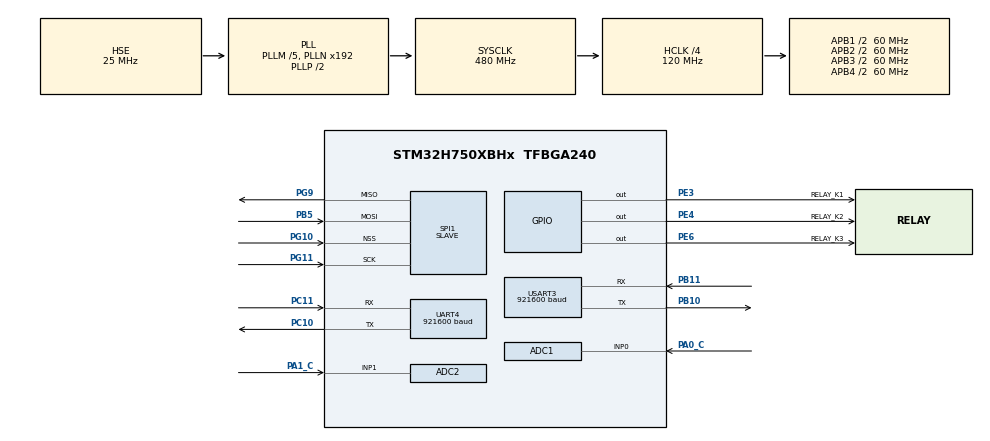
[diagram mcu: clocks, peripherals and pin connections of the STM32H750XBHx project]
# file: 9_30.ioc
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ADC1.Channel-10\#ChannelRegularConversion=ADC_CHANNEL_0
ADC1.ClockPrescaler=ADC_CLOCK_ASYNC_DIV2
ADC1.ConversionDataManagement=ADC_CONVERSIONDATA_DMA_CIRCULAR
ADC1.ExternalTrigConv=ADC_EXTERNALTRIG_T6_TRGO
ADC1.NbrOfConversionFlag=1
ADC1.OffsetNumber-10\#ChannelRegularConversion=ADC_OFFSET_NONE
ADC1.OffsetSignedSaturation-10\#ChannelRegularConversion=DISABLE
ADC1.Rank-10\#ChannelRegularConversion=1
ADC1.SamplingTime-10\#ChannelRegularConversion=ADC_SAMPLETIME_1CYCLE_5
ADC1.master=1
ADC2.Channel-6\#ChannelRegularConversion=ADC_CHANNEL_1
ADC2.ClockPrescaler=ADC_CLOCK_ASYNC_DIV2
ADC2.ConversionDataManagement=ADC_CONVERSIONDATA_DMA_CIRCULAR
ADC2.ExternalTrigConv=ADC_EXTERNALTRIG_T6_TRGO
ADC2.NbrOfConversionFlag=1
ADC2.OffsetNumber-6\#ChannelRegularConversion=ADC_OFFSET_NONE
ADC2.OffsetSignedSaturation-6\#ChannelRegularConversion=DISABLE
ADC2.Rank-6\#ChannelRegularConversion=1
ADC2.SamplingTime-6\#ChannelRegularConversion=ADC_SAMPLETIME_1CYCLE_5
CORTEX_M7.default_mode_Activation=1
Dma.ADC1.0.Direction=DMA_PERIPH_TO_MEMORY
Dma.ADC1.0.EventEnable=DISABLE
Dma.ADC1.0.FIFOMode=DMA_FIFOMODE_DISABLE
Dma.ADC1.0.Instance=DMA1_Stream2
Dma.ADC1.0.MemDataAlignment=DMA_MDATAALIGN_WORD
Dma.ADC1.0.MemInc=DMA_MINC_ENABLE
Dma.ADC1.0.Mode=DMA_CIRCULAR
Dma.ADC1.0.PeriphDataAlignment=DMA_PDATAALIGN_WORD
Dma.ADC1.0.PeriphInc=DMA_PINC_DISABLE
Dma.ADC1.0.Polarity=HAL_DMAMUX_REQ_GEN_RISING
Dma.ADC1.0.Priority=DMA_PRIORITY_LOW
Dma.ADC1.0.RequestNumber=1
Dma.ADC1.0.SignalID=NONE
Dma.ADC1.0.SyncEnable=DISABLE
Dma.ADC1.0.SyncPolarity=HAL_DMAMUX_SYNC_NO_EVENT
Dma.ADC1.0.SyncRequestNumber=1
Dma.ADC1.0.SyncSignalID=NONE
Dma.ADC2.1.Direction=DMA_PERIPH_TO_MEMORY
Dma.ADC2.1.EventEnable=DISABLE
Dma.ADC2.1.FIFOMode=DMA_FIFOMODE_DISABLE
Dma.ADC2.1.Instance=DMA1_Stream1
Dma.ADC2.1.MemDataAlignment=DMA_MDATAALIGN_HALFWORD
Dma.ADC2.1.MemInc=DMA_MINC_ENABLE
Dma.ADC2.1.Mode=DMA_CIRCULAR
Dma.ADC2.1.PeriphDataAlignment=DMA_PDATAALIGN_HALFWORD
Dma.ADC2.1.PeriphInc=DMA_PINC_DISABLE
Dma.ADC2.1.Polarity=HAL_DMAMUX_REQ_GEN_RISING
Dma.ADC2.1.Priority=DMA_PRIORITY_LOW
Dma.ADC2.1.RequestNumber=1
Dma.ADC2.1.SignalID=NONE
Dma.ADC2.1.SyncEnable=DISABLE
Dma.ADC2.1.SyncPolarity=HAL_DMAMUX_SYNC_NO_EVENT
Dma.ADC2.1.SyncRequestNumber=1
Dma.ADC2.1.SyncSignalID=NONE
Dma.Request0=ADC1
Dma.Request1=ADC2
Dma.Request2=SPI1_RX
Dma.SPI1_RX.2.Direction=DMA_PERIPH_TO_MEMORY
Dma.SPI1_RX.2.EventEnable=DISABLE
Dma.SPI1_RX.2.FIFOMode=DMA_FIFOMODE_DISABLE
Dma.SPI1_RX.2.Instance=DMA1_Stream0
Dma.SPI1_RX.2.MemDataAlignment=DMA_MDATAALIGN_HALFWORD
Dma.SPI1_RX.2.MemInc=DMA_MINC_ENABLE
Dma.SPI1_RX.2.Mode=DMA_CIRCULAR
Dma.SPI1_RX.2.PeriphDataAlignment=DMA_PDATAALIGN_HALFWORD
Dma.SPI1_RX.2.PeriphInc=DMA_PINC_DISABLE
Dma.SPI1_RX.2.Polarity=HAL_DMAMUX_REQ_GEN_RISING
Dma.SPI1_RX.2.Priority=DMA_PRIORITY_LOW
Dma.SPI1_RX.2.RequestNumber=1
Dma.SPI1_RX.2.SignalID=NONE
Dma.SPI1_RX.2.SyncEnable=DISABLE
Dma.SPI1_RX.2.SyncPolarity=HAL_DMAMUX_SYNC_NO_EVENT
Dma.SPI1_RX.2.SyncRequestNumber=1
Dma.SPI1_RX.2.SyncSignalID=NONE
Mcu.Family=STM32H7
Mcu.Name=STM32H750XBHx
Mcu.Package=TFBGA240
NVIC.DMA1_Stream0_IRQn=true\:1\:0\:true\:false\:true\:false\:true\:true
NVIC.DMA1_Stream1_IRQn=true\:0\:0\:false\:false\:true\:false\:true\:true
NVIC.DMA1_Stream2_IRQn=true\:0\:0\:false\:false\:true\:false\:true\:true
NVIC.PriorityGroup=NVIC_PRIORITYGROUP_4
NVIC.SPI1_IRQn=true\:0\:0\:false\:false\:true\:false\:true\:true
NVIC.UART4_IRQn=true\:0\:0\:false\:false\:true\:true\:true\:true
NVIC.USART3_IRQn=true\:0\:0\:false\:false\:true\:true\:true\:true
PA0_C.Signal=ADCx_INP0
PA13\ (JTMS/SWDIO).Mode=Serial_Wire
PA13\ (JTMS/SWDIO).Signal=DEBUG_JTMS-SWDIO
PA14\ (JTCK/SWCLK).Mode=Serial_Wire
PA14\ (JTCK/SWCLK).Signal=DEBUG_JTCK-SWCLK
PA1_C.Signal=ADCx_INP1
PB10.Mode=Asynchronous
PB10.Signal=USART3_TX
PB11.Mode=Asynchronous
PB11.Signal=USART3_RX
PB5.GPIO_Speed=GPIO_SPEED_FREQ_VERY_HIGH
PB5.Mode=Full_Duplex_Slave
PB5.Signal=SPI1_MOSI
PC10.Mode=Asynchronous
PC10.Signal=UART4_TX
PC11.Mode=Asynchronous
PC11.Signal=UART4_RX
PC14-OSC32_IN\ (OSC32_IN).Mode=LSE-External-Oscillator
PC14-OSC32_IN\ (OSC32_IN).Signal=RCC_OSC32_IN
PC15-OSC32_OUT\ (OSC32_OUT).Mode=LSE-External-Oscillator
PC15-OSC32_OUT\ (OSC32_OUT).Signal=RCC_OSC32_OUT
PE3.GPIO_Label=RELAY_K1
PE3.PinState=GPIO_PIN_RESET
PE3.Signal=GPIO_Output
PE4.GPIO_Label=RELAY_K2
PE4.PinState=GPIO_PIN_RESET
PE4.Signal=GPIO_Output
PE6.GPIO_Label=RELAY_K3
PE6.PinState=GPIO_PIN_RESET
PE6.Signal=GPIO_Output
PG10.GPIO_Speed=GPIO_SPEED_FREQ_VERY_HIGH
PG10.Mode=NSS_Signal_Hard_Input
PG10.Signal=SPI1_NSS
PG11.GPIO_Speed=GPIO_SPEED_FREQ_VERY_HIGH
PG11.Mode=Full_Duplex_Slave
PG11.Signal=SPI1_SCK
PG9.GPIO_Speed=GPIO_SPEED_FREQ_VERY_HIGH
PG9.Mode=Full_Duplex_Slave
PG9.Signal=SPI1_MISO
PH0-OSC_IN\ (PH0).Mode=HSE-External-Oscillator
PH0-OSC_IN\ (PH0).Signal=RCC_OSC_IN
PH1-OSC_OUT\ (PH1).Mode=HSE-External-Oscillator
PH1-OSC_OUT\ (PH1).Signal=RCC_OSC_OUT
ProjectManager.HeapSize=0x200
ProjectManager.StackSize=0x400
ProjectManager.TargetToolchain=MDK-ARM V5.32
RCC.ADCFreq_Value=75000000
RCC.APB1Freq_Value=60000000
RCC.APB2Freq_Value=60000000
RCC.APB3Freq_Value=60000000
RCC.APB4Freq_Value=60000000
RCC.CKPERSourceSelection=RCC_CLKPSOURCE_HSE
RCC.CortexFreq_Value=480000000
RCC.D1PPRE=RCC_APB3_DIV2
RCC.D2PPRE1=RCC_APB1_DIV2
RCC.D2PPRE2=RCC_APB2_DIV2
RCC.D3PPRE=RCC_APB4_DIV2
RCC.DIVM1=5
RCC.DIVM2=2
RCC.DIVN1=192
RCC.DIVN2=12
RCC.HCLKFreq_Value=120000000
RCC.HPRE=RCC_HCLK_DIV4
RCC.PLL2FRACN=0
RCC.PLL3FRACN=0
RCC.PLLFRACN=0
RCC.PLLSourceVirtual=RCC_PLLSOURCE_HSE
RCC.SPI123CLockSelection=RCC_SPI123CLKSOURCE_PLL2
RCC.SYSCLKFreq_VALUE=480000000
RCC.SYSCLKSource=RCC_SYSCLKSOURCE_PLLCLK
RCC.USBFreq_Value=480000000
SH.ADCx_INP0.0=ADC1_INP0,IN0-Single-Ended
SH.ADCx_INP1.0=ADC2_INP1,IN1-Single-Ended
SPI1.CLKPhase=SPI_PHASE_1EDGE
SPI1.CLKPolarity=SPI_POLARITY_HIGH
SPI1.DataSize=SPI_DATASIZE_16BIT
SPI1.Direction=SPI_DIRECTION_2LINES
SPI1.FirstBit=SPI_FIRSTBIT_MSB
SPI1.Mode=SPI_MODE_SLAVE
SPI1.NSS=SPI_NSS_HARD_INPUT
SPI1.VirtualNSS=VM_NSSHARD
SPI1.VirtualType=VM_SLAVE
TIM6.MasterOutputTrigger=TIM_TRGO_UPDATE
TIM6.Period=99
TIM6.Prescaler=3
TIM6.TIM_MasterOutputTrigger=TIM_TRGO_UPDATE
UART4.BaudRate=921600
USART3.BaudRate=921600
USART3.VirtualMode-Asynchronous=VM_ASYNC
VP_MEMORYMAP_VS_MEMORYMAP.Mode=CurAppReg
VP_TIM6_VS_ClockSourceINT.Mode=Enable_Timer
board=custom

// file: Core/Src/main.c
/* USER CODE BEGIN Header */
/**
  ******************************************************************************
  * @file           : main.c
  * @brief          : Main program body
  ******************************************************************************
  * @attention
  *
  * Copyright (c) 2026 STMicroelectronics.
  * All rights reserved.
  *
  * This software is licensed under terms that can be found in the LICENSE file
  * in the root directory of this software component.
  * If no LICENSE file comes with this software, it is provided AS-IS.
  *
  ******************************************************************************
  */
/* USER CODE END Header */
#include "main.h"
#include "adc.h"
#include "dma.h"
#include "spi.h"
#include "tim.h"
#include "usart.h"
#include "gpio.h"

/* USER CODE BEGIN Includes */
#include "measure.h"
#include "screen.h"
#include "relay_range.h"
#include "uart_debug.h"
#include <math.h>
/* USER CODE END Includes */

void SystemClock_Config(void);
void PeriphCommonClock_Config(void);
static void MPU_Config(void);

int main(void)
{

  /* USER CODE BEGIN 1 */
  Screen_SetStage("BOOT");
  /* USER CODE END 1 */

  /* MPU Configuration--------------------------------------------------------*/
  MPU_Config();

  /* MCU Configuration--------------------------------------------------------*/

  /* Reset of all peripherals, Initializes the Flash interface and the Systick. */
  HAL_Init();

  /* Configure the system clock */
  SystemClock_Config();

  /* Configure the peripherals common clocks */
  PeriphCommonClock_Config();

  /* USER CODE BEGIN SysInit */
  Screen_SetStage("CLK");
  /* USER CODE END SysInit */

  /* Initialize all configured peripherals */
  MX_GPIO_Init();
  MX_DMA_Init();
  MX_SPI1_Init();
  MX_UART4_Init();
  MX_ADC1_Init();
  MX_TIM6_Init();
  MX_ADC2_Init();
  MX_USART3_UART_Init();
  /* USER CODE BEGIN 2 */
  Screen_Init();                       /* 同时启动 b0(freq_change) 按键接收 */
  Screen_SetStage("PERIPH");

  UartDebug_Init();
  UartDebug_Printf("BOOT 9_30 debug uart 921600\r\n");

  /* 激励源在外部:信号源直接接到 Ui 节点(PA0_C),固件不驱动任何 DDS。
   * 因此这里没有信号源初始化步骤;SPI1 仍然初始化但不再有从设备。 */

  Measure_Init();   /* 初始化测量模块：CircuitID → Relay → ADC → 首次扫描 */
  /* USER CODE END 2 */

  /* Infinite loop */
  /* USER CODE BEGIN WHILE */
  static uint32_t last_heartbeat = 0;
  while (1)
  {
    Screen_KeyService();   /* 按键 → 请求重扫/切档/忽略 */
    Measure_Service();     /* 执行扫描或一次测量周期 */
    Screen_Poll();         /* 刷新屏幕 */

    /* 定期调用 SPI 从机轮询，用于统计和链路检测 */
    Spi_SlavePoll(NULL);

    /* 每 2 秒输出心跳，方便确认串口是否工作 */
    uint32_t now = HAL_GetTick();
    if ((now - last_heartbeat) >= 2000u)
    {
      last_heartbeat = now;
      UartDebug_Printf("HEARTBEAT tick=%lu\r\n", now);
    }
  }
    /* USER CODE END WHILE */

}

void SystemClock_Config(void)
{
  RCC_OscInitTypeDef RCC_OscInitStruct = {0};
  RCC_ClkInitTypeDef RCC_ClkInitStruct = {0};

  /** Supply configuration update enable
  */
  HAL_PWREx_ConfigSupply(PWR_LDO_SUPPLY);

  /** Configure the main internal regulator output voltage
  */
  __HAL_PWR_VOLTAGESCALING_CONFIG(PWR_REGULATOR_VOLTAGE_SCALE0);

  while(!__HAL_PWR_GET_FLAG(PWR_FLAG_VOSRDY)) {}

  /** Initializes the RCC Oscillators according to the specified parameters
  * in the RCC_OscInitTypeDef structure.
  */
  RCC_OscInitStruct.OscillatorType = RCC_OSCILLATORTYPE_HSE;
  RCC_OscInitStruct.HSEState = RCC_HSE_ON;
  RCC_OscInitStruct.PLL.PLLState = RCC_PLL_ON;
  RCC_OscInitStruct.PLL.PLLSource = RCC_PLLSOURCE_HSE;
  RCC_OscInitStruct.PLL.PLLM = 5;
  RCC_OscInitStruct.PLL.PLLN = 192;
  RCC_OscInitStruct.PLL.PLLP = 2;
  RCC_OscInitStruct.PLL.PLLQ = 2;
  RCC_OscInitStruct.PLL.PLLR = 2;
  RCC_OscInitStruct.PLL.PLLRGE = RCC_PLL1VCIRANGE_2;
  RCC_OscInitStruct.PLL.PLLVCOSEL = RCC_PLL1VCOWIDE;
  RCC_OscInitStruct.PLL.PLLFRACN = 0;
  if (HAL_RCC_OscConfig(&RCC_OscInitStruct) != HAL_OK)
  {
    Error_Handler();
  }

  /** Initializes the CPU, AHB and APB buses clocks
  */
  RCC_ClkInitStruct.ClockType = RCC_CLOCKTYPE_HCLK|RCC_CLOCKTYPE_SYSCLK
                              |RCC_CLOCKTYPE_PCLK1|RCC_CLOCKTYPE_PCLK2
                              |RCC_CLOCKTYPE_D3PCLK1|RCC_CLOCKTYPE_D1PCLK1;
  RCC_ClkInitStruct.SYSCLKSource = RCC_SYSCLKSOURCE_PLLCLK;
  RCC_ClkInitStruct.SYSCLKDivider = RCC_SYSCLK_DIV1;
  RCC_ClkInitStruct.AHBCLKDivider = RCC_HCLK_DIV4;
  RCC_ClkInitStruct.APB3CLKDivider = RCC_APB3_DIV2;
  RCC_ClkInitStruct.APB1CLKDivider = RCC_APB1_DIV2;
  RCC_ClkInitStruct.APB2CLKDivider = RCC_APB2_DIV2;
  RCC_ClkInitStruct.APB4CLKDivider = RCC_APB4_DIV2;

  if (HAL_RCC_ClockConfig(&RCC_ClkInitStruct, FLASH_LATENCY_1) != HAL_OK)
  {
    Error_Handler();
  }
}

void PeriphCommonClock_Config(void)
{
  RCC_PeriphCLKInitTypeDef PeriphClkInitStruct = {0};

  /** Initializes the peripherals clock
  */
  PeriphClkInitStruct.PeriphClockSelection = RCC_PERIPHCLK_ADC|RCC_PERIPHCLK_SPI1;
  PeriphClkInitStruct.PLL2.PLL2M = 2;
  PeriphClkInitStruct.PLL2.PLL2N = 12;
  PeriphClkInitStruct.PLL2.PLL2P = 2;
  PeriphClkInitStruct.PLL2.PLL2Q = 2;
  PeriphClkInitStruct.PLL2.PLL2R = 2;
  PeriphClkInitStruct.PLL2.PLL2RGE = RCC_PLL2VCIRANGE_3;
  PeriphClkInitStruct.PLL2.PLL2VCOSEL = RCC_PLL2VCOMEDIUM;
  PeriphClkInitStruct.PLL2.PLL2FRACN = 0;
  PeriphClkInitStruct.Spi123ClockSelection = RCC_SPI123CLKSOURCE_PLL2;
  PeriphClkInitStruct.AdcClockSelection = RCC_ADCCLKSOURCE_PLL2;
  if (HAL_RCCEx_PeriphCLKConfig(&PeriphClkInitStruct) != HAL_OK)
  {
    Error_Handler();
  }
}

 /* MPU Configuration */

void MPU_Config(void)
{
  MPU_Region_InitTypeDef MPU_InitStruct = {0};

  /* Disables the MPU */
  HAL_MPU_Disable();

  /** Initializes and configures the Region and the memory to be protected
  */
  MPU_InitStruct.Enable = MPU_REGION_ENABLE;
  MPU_InitStruct.Number = MPU_REGION_NUMBER0;
  MPU_InitStruct.BaseAddress = 0x0;
  MPU_InitStruct.Size = MPU_REGION_SIZE_4GB;
  MPU_InitStruct.SubRegionDisable = 0x87;
  MPU_InitStruct.TypeExtField = MPU_TEX_LEVEL0;
  MPU_InitStruct.AccessPermission = MPU_REGION_NO_ACCESS;
  MPU_InitStruct.DisableExec = MPU_INSTRUCTION_ACCESS_DISABLE;
  MPU_InitStruct.IsShareable = MPU_ACCESS_SHAREABLE;
  MPU_InitStruct.IsCacheable = MPU_ACCESS_NOT_CACHEABLE;
  MPU_InitStruct.IsBufferable = MPU_ACCESS_NOT_BUFFERABLE;

  HAL_MPU_ConfigRegion(&MPU_InitStruct);
  /* Enables the MPU */
  HAL_MPU_Enable(MPU_PRIVILEGED_DEFAULT);

}

void Error_Handler(void)
{
  /* USER CODE BEGIN Error_Handler_Debug */
  /* User can add his own implementation to report the HAL error return state */
  __disable_irq();
  Screen_FatalReportBlocking();
  while (1)
  {
  }
  /* USER CODE END Error_Handler_Debug */
}
